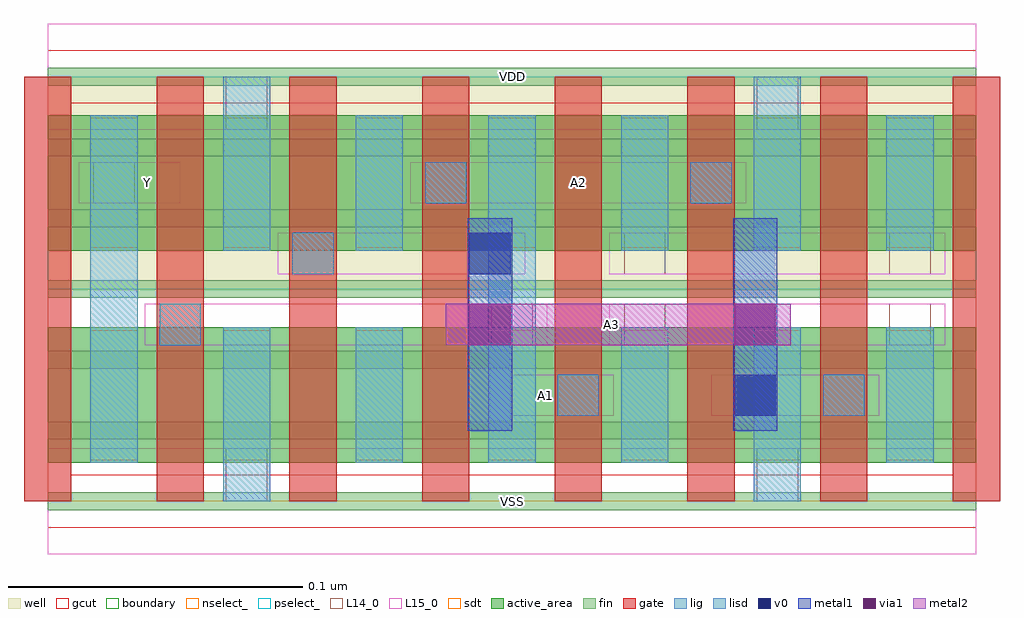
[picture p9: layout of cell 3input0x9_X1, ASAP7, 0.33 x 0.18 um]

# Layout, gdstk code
import gdstk
lib = gdstk.Library(unit=1e-6, precision=2.5e-10)
def R(c, l, rs):  # rectangles x0, y0, x1, y1
    for r in rs: c.add(gdstk.rectangle(r[:2], r[2:], *l))
def A(c, l, x, y, w, h, nx, ny, dx, dy):  # array of equal rectangles
    R(c, l, [(x+i*dx, y+j*dy, x+i*dx+w, y+j*dy+h) for i in range(nx) for j in range(ny)])
def P(c, l, *ps):  # polygons
    for p in ps: c.add(gdstk.Polygon(p, *l))
well = (1, 0)
fin = (2, 0)
gate = (7, 0)
gcut = (10, 0)
active_area = (11, 0)
nselect_ = (12, 0)
pselect_ = (13, 0)
L14_0 = (14, 0)
L15_0 = (15, 0)
lig = (16, 0)
lisd = (17, 0)
v0 = (18, 0)
metal1 = (19, 0)
metal2 = (20, 0)
via1 = (21, 0)
sdt = (88, 0)
boundary = (100, 0)

c_3input0x9_x1 = lib.new_cell('3input0x9_X1')
R(c_3input0x9_x1, well, [(0,0.072,0.315,0.144)])
A(c_3input0x9_x1, fin, 0, -0.003, 0.315, 0.006, 1, 7, 0, 0.024)
A(c_3input0x9_x1, gate, -0.008, 0, 0.016, 0.144, 8, 1, 0.045, 0)
P(c_3input0x9_x1, gcut, [(0,-0.009),(0,0),(-0.008,0),(-0.008,0.135),(0.008,0.135),(0.008,0.009),(0.307,0.009),(0.307,0.135),(-0.008,0.135),(-0.008,0.144),(0,0.144),(0,0.153),(0.315,0.153),(0.315,0.144),(0.323,0.144),(0.323,0),(0.315,0),(0.315,-0.009)])
R(c_3input0x9_x1, active_area, [(0,0.013,0.315,0.059), (0,0.085,0.315,0.131)])
R(c_3input0x9_x1, nselect_, [(0,0,0.315,0.072)])
R(c_3input0x9_x1, pselect_, [(0,0.072,0.315,0.144)])
R(c_3input0x9_x1, L14_0, [(0.0605,0,0.0745,0.018), (0.2405,0,0.2545,0.018), (0.173,0.029,0.187,0.043), (0.263,0.029,0.277,0.043), (0.038,0.053,0.052,0.067), (0.1505,0.053,0.1645,0.067), (0.1955,0.053,0.2095,0.067), (0.2855,0.053,0.2995,0.067), (0.083,0.077,0.097,0.091), (0.1955,0.077,0.2095,0.091), (0.2855,0.077,0.2995,0.091), (0.0155,0.101,0.0295,0.115), (0.128,0.101,0.142,0.115), (0.218,0.101,0.232,0.115), (0.0605,0.126,0.0745,0.144), (0.2405,0.126,0.2545,0.144)])
R(c_3input0x9_x1, L15_0, [(0,-0.018,0.315,0.018), (0.1575,0.029,0.192,0.043), (0.225,0.029,0.282,0.043), (0.033,0.053,0.1695,0.067), (0.1905,0.053,0.3045,0.067), (0.078,0.077,0.162,0.091), (0.1905,0.077,0.3045,0.091), (0.0105,0.101,0.045,0.115), (0.123,0.101,0.237,0.115), (0,0.126,0.315,0.162)])
R(c_3input0x9_x1, lig, [(0.173,0.029,0.187,0.043), (0.263,0.029,0.277,0.043), (0.038,0.053,0.052,0.067), (0.083,0.077,0.097,0.091), (0.128,0.101,0.142,0.115), (0.218,0.101,0.232,0.115)])
A(c_3input0x9_x1, lisd, 0.1045, 0.013, 0.016, 0.046, 3, 2, 0.09, 0.072)
R(c_3input0x9_x1, lisd, [(0.0595,0,0.0755,0.059), (0.2395,0,0.2555,0.059), (0.0145,0.013,0.0305,0.131), (0.1495,0.013,0.1655,0.131), (0.0595,0.085,0.0755,0.144), (0.2395,0.085,0.2555,0.144)])
R(c_3input0x9_x1, v0, [(0.233,0.029,0.247,0.043), (0.143,0.077,0.157,0.091)])
R(c_3input0x9_x1, metal1, [(0.1425,0.024,0.1575,0.096), (0.2325,0.024,0.2475,0.096)])
R(c_3input0x9_x1, metal2, [(0.135,0.053,0.252,0.067)])
R(c_3input0x9_x1, via1, [(0.143,0.053,0.157,0.067), (0.233,0.053,0.247,0.067)])
A(c_3input0x9_x1, sdt, 0.0145, 0.014, 0.016, 0.044, 7, 2, 0.045, 0.072)
R(c_3input0x9_x1, boundary, [(0,0,0.315,0.144)])
c_3input0x9_x1.add(gdstk.Label('A1', (0.1688,0.036), layer=15, texttype=251))
c_3input0x9_x1.add(gdstk.Label('VSS', (0.1575,0), layer=15, texttype=251))
c_3input0x9_x1.add(gdstk.Label('VDD', (0.1575,0.144), layer=15, texttype=251))
c_3input0x9_x1.add(gdstk.Label('A2', (0.18,0.108), layer=15, texttype=251))
c_3input0x9_x1.add(gdstk.Label('VSS', (0.1575,0), layer=15, texttype=251))
c_3input0x9_x1.add(gdstk.Label('VDD', (0.1575,0.144), layer=15, texttype=251))
c_3input0x9_x1.add(gdstk.Label('VSS', (0.1575,0), layer=15, texttype=251))
c_3input0x9_x1.add(gdstk.Label('VDD', (0.1575,0.144), layer=15, texttype=251))
c_3input0x9_x1.add(gdstk.Label('Y', (0.0338,0.108), layer=15, texttype=251))
c_3input0x9_x1.add(gdstk.Label('VSS', (0.1575,0), layer=15, texttype=251))
c_3input0x9_x1.add(gdstk.Label('VDD', (0.1575,0.144), layer=15, texttype=251))
c_3input0x9_x1.add(gdstk.Label('VSS', (0.1575,0), layer=3, texttype=251))
c_3input0x9_x1.add(gdstk.Label('VSS', (0.1575,0), layer=3, texttype=251))
c_3input0x9_x1.add(gdstk.Label('VSS', (0.1575,0), layer=3, texttype=251))
c_3input0x9_x1.add(gdstk.Label('VSS', (0.1575,0), layer=3, texttype=251))
c_3input0x9_x1.add(gdstk.Label('VDD', (0.1575,0.144), layer=1, texttype=251))
c_3input0x9_x1.add(gdstk.Label('VDD', (0.1575,0.144), layer=1, texttype=251))
c_3input0x9_x1.add(gdstk.Label('VDD', (0.1575,0.144), layer=1, texttype=251))
c_3input0x9_x1.add(gdstk.Label('VDD', (0.1575,0.144), layer=1, texttype=251))
c_3input0x9_x1.add(gdstk.Label('A3', (0.1913,0.06), layer=20, texttype=251))

lib.write_gds('3input0x9_X1.gds')
